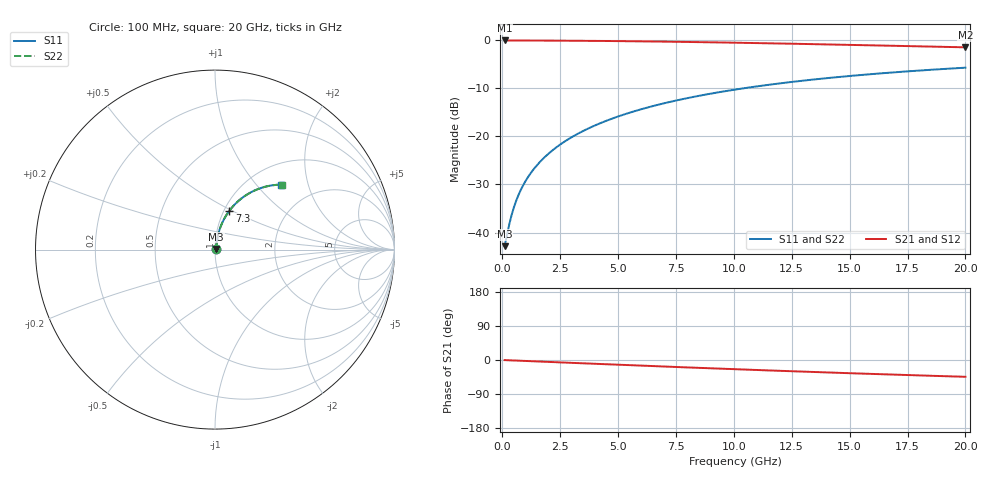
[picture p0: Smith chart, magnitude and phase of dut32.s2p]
! Touchstone file exported from HFSS 2026.1.0
!  File:  C:/ffzhzh/LocalFiles/Ansys_Project_Files/temp_train_TMRDL_32_1782880567_43084.aedt
!  Generated:  12:37:23 PM Jul  1, 2026
!  Design:  TMRDL
!  Project:  temp_train_TMRDL_32_1782880567_43084
! Variables:
!  h_bsmrdl = 2um
!  h_ox = 20um
!  h_rdl = 5um
!  h_sub = 80um
!  h_tmrdl = 2.3um
!  h_tsv = 80um
!  h_via = 3um
!  l_bsmrdl = 300um
!  l_sub = 947.34um
!  l_tmrdl = 547.34um
!  m_sub = 200um
!  pitch = 54.59um
!  r_tsv = 6um
!  s_tmrdl = 10um
!  w_bsmrdl = 18um
!  w_sub = 500um
!  w_tmrdl = 13.5um
!  x_tsv_center1 = 554.09um
!  x_tsv_center2 = 872.09um
!  x_tsv_center3 = 1432.93um
!  x_tsv_center4 = 1750.93um
!  x_tsv_center5 = 2311.77um
!  x_tsv_center6 = 2629.77um
# GHz S MA R 50.000000
! Terminal data exported
! Port[1] = TM_RDL1_1_T1
! Port[2] = TM_RDL1_1_T2
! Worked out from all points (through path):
!   200 points, 100 MHz to 20 GHz, reference 50 ohm
!   highest |S21| = -0.06 dB at 100 MHz (marker M1); lowest = -1.5 dB at 20 GHz (marker M2)
!   group delay of S21, straight-line fit = 6.18 ps
!   lowest |S11| = -42.8 dB at 100 MHz (marker M3), VSWR 1.01, Z = 50.6 + j0.345 ohm
!   |S11| at or under -10 dB: start of sweep to 10.42 GHz
!   |S22| runs from -42.8 to -5.7 dB; largest |S21 - S12| = 2e-15
!   S11 on the Smith chart (normalised r, x): 100 MHz: 1.01, +0.01; 7.3 GHz: 1.06, +0.48; 20 GHz: 1.39, +1.37
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0.1  0.007227 28.1  0.9936 -0.3  0.9936 -0.3  0.007227 28.1
! Gamma 0 0 0 0
! Port Impedance 50 0 50 0
0.3  0.01214 57.0  0.9935 -0.8  0.9935 -0.8  0.01214 57.0
0.4  0.01515 63.2  0.9933 -1.0  0.9933 -1.0  0.01515 63.2
0.5  0.01827 67.2  0.9932 -1.3  0.9932 -1.3  0.01827 67.2
0.6  0.02144 70.0  0.993 -1.5  0.993 -1.5  0.02144 70.0
0.7  0.02462 71.9  0.9928 -1.8  0.9928 -1.8  0.02462 71.9
0.9  0.03102 74.5  0.9925 -2.3  0.9925 -2.3  0.03102 74.5
1.2  0.04063 76.6  0.9919 -3.1  0.9919 -3.1  0.04063 76.6
1.4  0.04704 77.4  0.9915 -3.6  0.9915 -3.6  0.04704 77.4
1.7  0.05665 78.0  0.9909 -4.3  0.9909 -4.3  0.05665 78.0
2.2  0.07268 78.3  0.9897 -5.5  0.9897 -5.5  0.07268 78.3
2.8  0.09186 78.0  0.9879 -7.0  0.9879 -7.0  0.09186 78.0
3.5  0.1141 77.2  0.9854 -8.8  0.9854 -8.8  0.1141 77.2
4.2  0.1362 76.0  0.9825 -10.5  0.9825 -10.5  0.1362 76.0
5  0.161 74.5  0.9785 -12.5  0.9785 -12.5  0.161 74.5
6.8  0.2154 70.8  0.9676 -16.8  0.9676 -16.8  0.2154 70.8
7.3  0.2301 69.8  0.9641 -18.0  0.9641 -18.0  0.2301 69.8
8.6  0.2671 67.0  0.9542 -21.0  0.9542 -21.0  0.2671 67.0
10.1  0.3078 63.7  0.9415 -24.4  0.9415 -24.4  0.3078 63.7
13.4  0.3892 56.8  0.9102 -31.6  0.9102 -31.6  0.3892 56.8
16.7  0.4591 50.3  0.8766 -38.2  0.8766 -38.2  0.4591 50.3
20  0.5179 44.3  0.8431 -44.3  0.8431 -44.3  0.518 44.3
